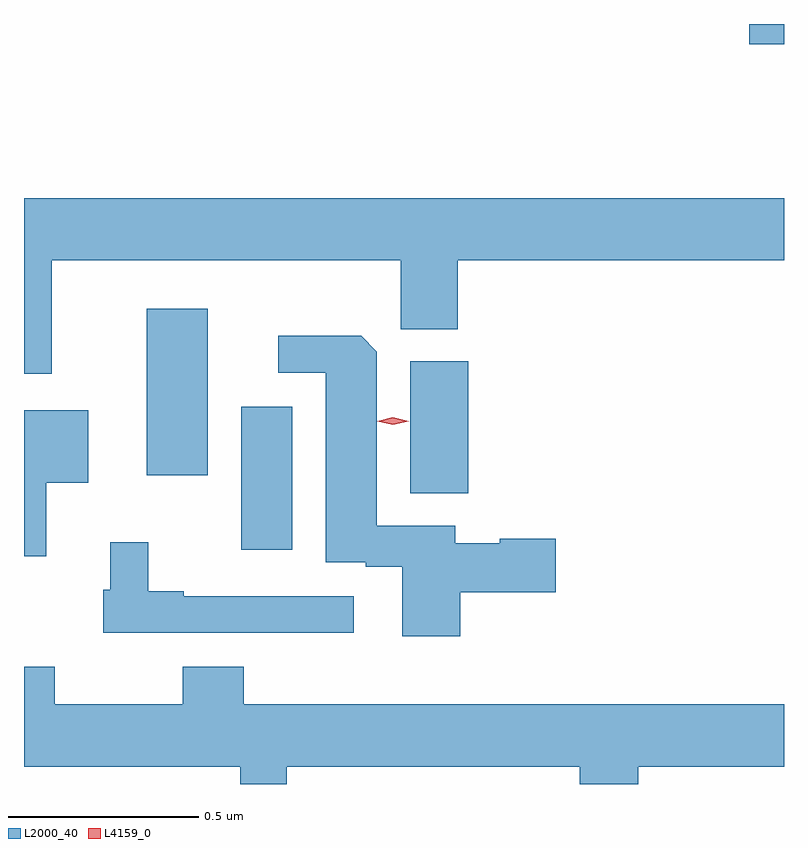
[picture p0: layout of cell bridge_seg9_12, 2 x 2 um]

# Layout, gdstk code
import gdstk
lib = gdstk.Library(unit=1e-6, precision=1e-09)
def R(c, l, rs):  # rectangles x0, y0, x1, y1
    for r in rs: c.add(gdstk.rectangle(r[:2], r[2:], *l))
def P(c, l, *ps):  # polygons
    for p in ps: c.add(gdstk.Polygon(p, *l))
L2000_40 = (2000, 40)
L4159_0 = (4159, 0)

bridge_seg9_12 = lib.new_cell('bridge_seg9_12')
R(bridge_seg9_12, L2000_40, [(993.854,1234.287,993.988,1234.663), (994.298,1234.435,994.451,1234.782), (993.605,1234.482,993.766,1234.921), (995.19,1235.617,995.282,1235.67)])
P(bridge_seg9_12, L2000_40, [(993.355,1235.048),(994.273,1235.048),(994.273,1234.867),(994.424,1234.867),(994.424,1235.048),(995.282,1235.048),(995.282,1235.212),(993.282,1235.212),(993.282,1234.749),(993.355,1234.749)],
  [(994.43,1234.174),(994.681,1234.174),(994.681,1234.316),(994.534,1234.316),(994.534,1234.303),(994.417,1234.303),(994.417,1234.35),(994.21,1234.35),(994.21,1234.808),(994.169,1234.85),(993.951,1234.85),(993.951,1234.752),(994.076,1234.752),(994.076,1234.254),(994.181,1234.254),(994.181,1234.242),(994.277,1234.242),(994.277,1234.059),(994.43,1234.059)],
  [(993.34,1234.463),(993.451,1234.463),(993.451,1234.654),(993.282,1234.654),(993.282,1234.269),(993.34,1234.269)],
  [(994.15,1234.164),(993.703,1234.164),(993.703,1234.177),(993.609,1234.177),(993.609,1234.306),(993.509,1234.306),(993.509,1234.181),(993.49,1234.181),(993.49,1234.068),(994.15,1234.068)],
  [(993.973,1233.716),(994.745,1233.716),(994.745,1233.67),(994.898,1233.67),(994.898,1233.716),(995.282,1233.716),(995.282,1233.88),(993.86,1233.88),(993.86,1233.979),(993.7,1233.979),(993.7,1233.88),(993.363,1233.88),(993.363,1233.979),(993.282,1233.979),(993.282,1233.716),(993.851,1233.716),(993.851,1233.67),(993.973,1233.67)])
P(bridge_seg9_12, L4159_0, [(994.253,1234.615),(994.212,1234.625),(994.212,1234.625),(994.212,1234.625),(994.253,1234.635),(994.294,1234.625),(994.294,1234.625),(994.294,1234.625)])

lib.write_gds('bridge_seg9_12.gds')
